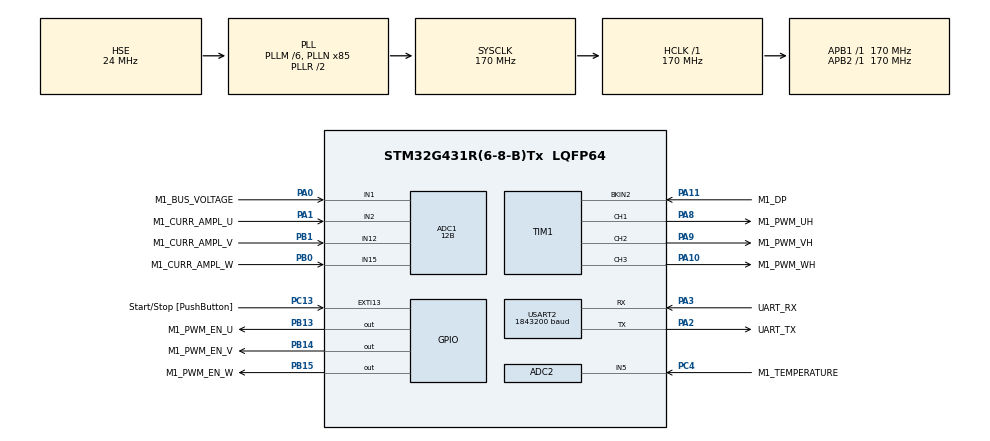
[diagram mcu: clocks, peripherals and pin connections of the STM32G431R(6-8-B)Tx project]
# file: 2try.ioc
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ADC1.Channel-1\#ChannelRegularConversion=ADC_CHANNEL_1
ADC1.ClockPrescaler=ADC_CLOCK_ASYNC_DIV1
ADC1.ContinuousConvMode=DISABLE
ADC1.DMAContinuousRequests=DISABLE
ADC1.DataAlign=ADC_DATAALIGN_LEFT
ADC1.DiscontinuousConvMode=DISABLE
ADC1.EOCSelection=ADC_EOC_SINGLE_CONV
ADC1.EnableAnalogWatchDog1=false
ADC1.EnableAnalogWatchDog2=false
ADC1.EnableAnalogWatchDog3=false
ADC1.EnableInjectedConversion=ENABLE
ADC1.EnableRegularConversion=ENABLE
ADC1.ExternalTrigConv=ADC_SOFTWARE_START
ADC1.ExternalTrigConvEdge=ADC_EXTERNALTRIGCONVEDGE_NONE
ADC1.ExternalTrigInjecConv=ADC_EXTERNALTRIGINJEC_T1_TRGO
ADC1.ExternalTrigInjecConvEdge=ADC_EXTERNALTRIGINJECCONV_EDGE_RISING
ADC1.InjNumberOfConversion=3
ADC1.InjectedChannel-1\#ChannelInjectedConversion=ADC_CHANNEL_2
ADC1.InjectedChannel-2\#ChannelInjectedConversion=ADC_CHANNEL_12
ADC1.InjectedChannel-3\#ChannelInjectedConversion=ADC_CHANNEL_15
ADC1.InjectedConvMode=None
ADC1.InjectedOffset-1\#ChannelInjectedConversion=0
ADC1.InjectedOffset-2\#ChannelInjectedConversion=0
ADC1.InjectedOffset-3\#ChannelInjectedConversion=0
ADC1.InjectedOffsetNumber-1\#ChannelInjectedConversion=ADC_OFFSET_NONE
ADC1.InjectedOffsetNumber-2\#ChannelInjectedConversion=ADC_OFFSET_NONE
ADC1.InjectedOffsetNumber-3\#ChannelInjectedConversion=ADC_OFFSET_NONE
ADC1.InjectedRank-1\#ChannelInjectedConversion=1
ADC1.InjectedRank-2\#ChannelInjectedConversion=2
ADC1.InjectedRank-3\#ChannelInjectedConversion=3
ADC1.InjectedSamplingTime-1\#ChannelInjectedConversion=ADC_SAMPLETIME_6CYCLES_5
ADC1.InjectedSamplingTime-2\#ChannelInjectedConversion=ADC_SAMPLETIME_6CYCLES_5
ADC1.InjectedSamplingTime-3\#ChannelInjectedConversion=ADC_SAMPLETIME_6CYCLES_5
ADC1.LowPowerAutoWait=DISABLE
ADC1.NbrOfConversion=1
ADC1.NbrOfConversionFlag=1
ADC1.Offset-1\#ChannelRegularConversion=0
ADC1.OffsetNumber-1\#ChannelRegularConversion=ADC_OFFSET_NONE
ADC1.Overrun=ADC_OVR_DATA_PRESERVED
ADC1.Rank-1\#ChannelRegularConversion=1
ADC1.Resolution=ADC_RESOLUTION_12B
ADC1.SamplingTime-1\#ChannelRegularConversion=ADC_SAMPLETIME_47CYCLES_5
ADC1.ScanConvMode=ADC_SCAN_ENABLE
ADC1.master=1
ADC2.Channel-1\#ChannelRegularConversion=ADC_CHANNEL_5
ADC2.ClockPrescaler=ADC_CLOCK_ASYNC_DIV1
ADC2.ContinuousConvMode=DISABLE
ADC2.DMAContinuousRequests=DISABLE
ADC2.DataAlign=ADC_DATAALIGN_LEFT
ADC2.DiscontinuousConvMode=DISABLE
ADC2.EOCSelection=ADC_EOC_SINGLE_CONV
ADC2.EnableAnalogWatchDog1=false
ADC2.EnableAnalogWatchDog2=false
ADC2.EnableAnalogWatchDog3=false
ADC2.EnableRegularConversion=ENABLE
ADC2.ExternalTrigConv=ADC_SOFTWARE_START
ADC2.ExternalTrigConvEdge=ADC_EXTERNALTRIGCONVEDGE_NONE
ADC2.LowPowerAutoWait=DISABLE
ADC2.NbrOfConversion=1
ADC2.NbrOfConversionFlag=1
ADC2.Offset-1\#ChannelRegularConversion=0
ADC2.OffsetNumber-1\#ChannelRegularConversion=ADC_OFFSET_NONE
ADC2.Overrun=ADC_OVR_DATA_PRESERVED
ADC2.Rank-1\#ChannelRegularConversion=1
ADC2.Resolution=ADC_RESOLUTION_12B
ADC2.SamplingTime-1\#ChannelRegularConversion=ADC_SAMPLETIME_47CYCLES_5
ADC2.ScanConvMode=ADC_SCAN_DISABLE
ADC2.master=1
Dma.Request0=USART2_RX
Dma.Request1=USART2_TX
Dma.USART2_RX.0.Direction=DMA_PERIPH_TO_MEMORY
Dma.USART2_RX.0.EventEnable=DISABLE
Dma.USART2_RX.0.Instance=DMA1_Channel1
Dma.USART2_RX.0.MemDataAlignment=DMA_MDATAALIGN_BYTE
Dma.USART2_RX.0.MemInc=DMA_MINC_ENABLE
Dma.USART2_RX.0.Mode=DMA_NORMAL
Dma.USART2_RX.0.PeriphDataAlignment=DMA_PDATAALIGN_BYTE
Dma.USART2_RX.0.PeriphInc=DMA_PINC_DISABLE
Dma.USART2_RX.0.Polarity=HAL_DMAMUX_REQ_GEN_RISING
Dma.USART2_RX.0.Priority=DMA_PRIORITY_LOW
Dma.USART2_RX.0.RequestNumber=1
Dma.USART2_RX.0.SignalID=NONE
Dma.USART2_RX.0.SyncEnable=DISABLE
Dma.USART2_RX.0.SyncPolarity=HAL_DMAMUX_SYNC_NO_EVENT
Dma.USART2_RX.0.SyncRequestNumber=1
Dma.USART2_RX.0.SyncSignalID=NONE
Dma.USART2_TX.1.Direction=DMA_MEMORY_TO_PERIPH
Dma.USART2_TX.1.EventEnable=DISABLE
Dma.USART2_TX.1.Instance=DMA1_Channel2
Dma.USART2_TX.1.MemDataAlignment=DMA_MDATAALIGN_BYTE
Dma.USART2_TX.1.MemInc=DMA_MINC_ENABLE
Dma.USART2_TX.1.Mode=DMA_NORMAL
Dma.USART2_TX.1.PeriphDataAlignment=DMA_PDATAALIGN_BYTE
Dma.USART2_TX.1.PeriphInc=DMA_PINC_DISABLE
Dma.USART2_TX.1.Polarity=HAL_DMAMUX_REQ_GEN_RISING
Dma.USART2_TX.1.Priority=DMA_PRIORITY_LOW
Dma.USART2_TX.1.RequestNumber=1
Dma.USART2_TX.1.SignalID=NONE
Dma.USART2_TX.1.SyncEnable=DISABLE
Dma.USART2_TX.1.SyncPolarity=HAL_DMAMUX_SYNC_NO_EVENT
Dma.USART2_TX.1.SyncRequestNumber=1
Dma.USART2_TX.1.SyncSignalID=NONE
ExtraMW=MotorControl
ExtraMW.MotorControl.Config=MotorControl
ExtraMW.MotorControl.Mode=MotorControl
ExtraMW.MotorControl.Root=MCSDK_v6.2.1-Full/MotorControl
ExtraMW.MotorControl.Template=templates
Mcu.Family=STM32G4
Mcu.Name=STM32G431R(6-8-B)Tx
Mcu.Package=LQFP64
MotorControl.ADC_AHBPERIPH=RCC_AHBPeriph_ADC1
MotorControl.ADC_CLOCK_WB_DIV=1
MotorControl.ADC_PERIPH=ADC1
MotorControl.ADC_REFERENCE_VOLTAGE=3.3
MotorControl.BOARD=NUCLEO-G431RB
MotorControl.BUS_VOLTAGE_READING=true
MotorControl.CCMRAM_ENABLED=false
MotorControl.CLOCK_FREQUENCY=CPU_CLK_170_MHZ
MotorControl.CLOCK_SOURCE=EXTERNAL
MotorControl.CPU_CLK_170_MHZ=true
MotorControl.CTLBOARD_NAME=NUCLEO-G431RB
MotorControl.CUBE_MX_VER=6.11.0
MotorControl.CURRENT_READING_TOPOLOGY=THREE_SHUNT
MotorControl.CURR_SAMPLING_TIME=6
MotorControl.DBG_MCU_LOAD_MEASURE=false
MotorControl.DEBUG_DAC_FUNCTIONALITY_EN=false
MotorControl.DP_EMERGENCY_STOP_GPIO_PIN=LL_GPIO_PIN_11
MotorControl.DP_EMERGENCY_STOP_GPIO_PORT=GPIOA
MotorControl.DRIVES_NUMBER_SELECTION=SINGLEDRIVE
MotorControl.DRIVE_NUMBER=1
MotorControl.DRIVE_TYPE=FOC
MotorControl.ENCODER_AVAILABLE=false
MotorControl.ENCODER_PPR=400
MotorControl.EXT_CLK_24_MHZ=true
MotorControl.EXT_CLOCK_FREQUENCY=EXT_CLK_24_MHZ
MotorControl.FEEDBACK_NET_FILTERING=false
MotorControl.HALL_SENSORS_AVAILABLE=false
MotorControl.HIGH_SIDE_IDLE_STATE=false
MotorControl.HWV_CS=ThreeShunt_AmplifiedCurrents
MotorControl.HWV_DP=SingleErrorTrigger_FixedReference
MotorControl.HWV_PWM=DrivingHighSidesAndThreeEnables
MotorControl.HW_COMPLEMENTED_LOW_SIDE=true
MotorControl.HW_DEAD_TIME_NS=550
MotorControl.IPs=CORDIC,SYS,NVIC,RCC,MotorControl,TIM1,ADC1,ADC2,USART2,DMA
MotorControl.LOW_MEMORY_FOOTPRINT_REG=false
MotorControl.LOW_SIDE_IDLE_STATE=false
MotorControl.LOW_SIDE_SIGNALS_ENABLING=ES_GPIO
MotorControl.M1_AMPLIFICATION_GAIN=1.53
MotorControl.M1_ANGC={0,0,0,0,0,0,0,0}
MotorControl.M1_AUXILIARY_SPEED_SENSOR=NONE
MotorControl.M1_BEMF_CONSISTENCY_GAIN=64
MotorControl.M1_BEMF_CONSISTENCY_TOL=64
MotorControl.M1_BOARD_MAX_CURRENT=2.12
MotorControl.M1_BUS_VOLTAGE_READING=true
MotorControl.M1_CONSTANT1_D=202576
MotorControl.M1_CONSTANT1_Q=202576
MotorControl.M1_CONSTANT2_QD=40424
MotorControl.M1_CS_ADC_NUM=1
MotorControl.M1_CS_ADC_PHASE_SHARED=NONE
MotorControl.M1_CS_ADC_U=ADC1
MotorControl.M1_CS_ADC_V=ADC1
MotorControl.M1_CS_ADC_W=ADC1
MotorControl.M1_CS_CHANNEL_U=2
MotorControl.M1_CS_CHANNEL_V=12
MotorControl.M1_CS_CHANNEL_W=15
MotorControl.M1_CURRENT_AMPLIFICATION_TOPO=EXTERNAL
MotorControl.M1_CURRENT_SENSING_TOPO=THREE_SHUNT
MotorControl.M1_CURR_SAMPLING_TIME=6
MotorControl.M1_DBG_OPEN_LOOP_ENABLE=false
MotorControl.M1_DC_CURRENT_RS_MEAS=2.12
MotorControl.M1_DEFAULT_CONTROL_MODE=STC_SPEED_MODE
MotorControl.M1_DEFAULT_FLUX_COMPONENT=0
MotorControl.M1_DEFAULT_TARGET_SPEED_RPM=524
MotorControl.M1_DEFAULT_TORQUE_COMPONENT=0
MotorControl.M1_DISCONTINUOUS_PWM=false
MotorControl.M1_DP_BKIN_FILTER=3
MotorControl.M1_DP_BKIN_MODE=EXT_MODE
MotorControl.M1_DP_BKIN_POLARITY=EMSTOP_ACTIVE_LOW
MotorControl.M1_DP_DESTINATION=TIM_BKIN2
MotorControl.M1_DP_TOPOLOGY=EXTERNAL
MotorControl.M1_DRIVE_TYPE=FOC
MotorControl.M1_ENABLE_SL_ALGO_FROM_PHASE=2
MotorControl.M1_ENCODER_PPR=400
MotorControl.M1_F1=16384
MotorControl.M1_F2=4096
MotorControl.M1_FEED_FORWARD_CURRENT_REG_ENABLING=false
MotorControl.M1_FLUX_WEAKENING_ENABLING=false
MotorControl.M1_FW_KIDIV=32768
MotorControl.M1_FW_KI_GAIN=5000
MotorControl.M1_FW_KPDIV=32768
MotorControl.M1_FW_KP_GAIN=3000
MotorControl.M1_FW_VOLTAGE_REF=985
MotorControl.M1_GAIN1=-22528
MotorControl.M1_GAIN2=31586
MotorControl.M1_HALL_PHASE_SHIFT=300
MotorControl.M1_HALL_SENSORS_PLACEMENT=DEGREES_120
MotorControl.M1_HIGH_SIDE_IDLE_STATE=false
MotorControl.M1_HW_DEAD_TIME_NS=550
MotorControl.M1_ICL_ENABLED=false
MotorControl.M1_ID_DEMAG=-2.12
MotorControl.M1_IQMAX=2.12
MotorControl.M1_LDLQ_RATIO=1.000
MotorControl.M1_LOW_SIDE_IDLE_STATE=false
MotorControl.M1_LOW_SIDE_SIGNALS_ENABLING=ES_GPIO
MotorControl.M1_LS=0.001058
MotorControl.M1_MAX_APPLICATION_SPEED=1572
MotorControl.M1_MAX_MODULATION_INDEX=100
MotorControl.M1_MIN_APPLICATION_SPEED=0
MotorControl.M1_MOTOR_MAX_SPEED_RPM=1572
MotorControl.M1_MOTOR_NAME=GimBal GBM2804H-100T
MotorControl.M1_MOTOR_RATED_FLUX=0.034739897
MotorControl.M1_MOTOR_VOLTAGE_CONSTANT=5.0
MotorControl.M1_MTPA_ENABLING=false
MotorControl.M1_NB_CONSECUTIVE_TESTS=2
MotorControl.M1_NOMINAL_BUS_VOLTAGE_V=15
MotorControl.M1_NOMINAL_CURRENT=2.12
MotorControl.M1_OBS_MINIMUM_SPEED_RPM=524
MotorControl.M1_OCP_TOPOLOGY=NONE
MotorControl.M1_OFST={0,0,0,0,0,0,0,0}
MotorControl.M1_ON_OVER_VOLTAGE=TURN_OFF_PWM
MotorControl.M1_OVERMODULATION=false
MotorControl.M1_OVP_THRESHOLD_HIGH=18
MotorControl.M1_OV_TEMPERATURE_HYSTERESIS_C=10
MotorControl.M1_OV_TEMPERATURE_PROT_ENABLING=true
MotorControl.M1_OV_TEMPERATURE_THRESHOLD_C=110
MotorControl.M1_OV_VOLTAGE_PROT_ENABLING=true
MotorControl.M1_OV_VOLTAGE_THRESHOLD_V=18
MotorControl.M1_PHASE1_DURATION=1000
MotorControl.M1_PHASE1_FINAL_CURRENT=2.12
MotorControl.M1_PHASE1_FINAL_SPEED_RPM=0
MotorControl.M1_PHASE2_DURATION=1164
MotorControl.M1_PHASE2_FINAL_CURRENT=2.12
MotorControl.M1_PHASE2_FINAL_SPEED_RPM=582
MotorControl.M1_PHASE3_DURATION=0
MotorControl.M1_PHASE3_FINAL_CURRENT=2.12
MotorControl.M1_PHASE3_FINAL_SPEED_RPM=582
MotorControl.M1_PHASE4_DURATION=0
MotorControl.M1_PHASE4_FINAL_CURRENT=2.12
MotorControl.M1_PHASE4_FINAL_SPEED_RPM=582
MotorControl.M1_PHASE5_DURATION=0
MotorControl.M1_PHASE5_FINAL_CURRENT=2.12
MotorControl.M1_PHASE5_FINAL_SPEED_RPM=582
MotorControl.M1_PID_FLUX_KD_DEFAULT=100
MotorControl.M1_PID_FLUX_KI_DEFAULT=3834
MotorControl.M1_PID_FLUX_KP_DEFAULT=2876
MotorControl.M1_PID_SPEED_KD_DEFAULT=0
MotorControl.M1_PID_SPEED_KI_DEFAULT=562
MotorControl.M1_PID_SPEED_KP_DEFAULT=2730
MotorControl.M1_PID_TORQUE_KD_DEFAULT=100
MotorControl.M1_PID_TORQUE_KI_DEFAULT=3834
MotorControl.M1_PID_TORQUE_KP_DEFAULT=2876
MotorControl.M1_PLL_KI_GAIN=5
MotorControl.M1_PLL_KP_GAIN=195
MotorControl.M1_POLE_PAIR_NUM=7
MotorControl.M1_POSITION_CTRL_ENABLING=false
MotorControl.M1_POTENTIOMETER_ENABLE=false
MotorControl.M1_POWERBOARD_NAME=X-NUCLEO-IHM16M1
MotorControl.M1_PWM_CHARGE_BOOT_CAP_DUTY_CYCLES=0.000
MotorControl.M1_PWM_CHARGE_BOOT_CAP_MS=10
MotorControl.M1_PWM_DRIVER_PN=Driver or IGBT or MOSFET Part Number
MotorControl.M1_PWM_FREQUENCY=30000
MotorControl.M1_PWM_TIMER_BRK_IRQ=TIM1_BRK_TIM15
MotorControl.M1_PWM_TIMER_SELECTION=PWM_TIM1
MotorControl.M1_PWM_TIMER_UP_IRQ=TIM1_UP_TIM16
MotorControl.M1_REGULATION_EXECUTION_RATE=1
MotorControl.M1_RS=5.29
MotorControl.M1_RSHUNT=0.33
MotorControl.M1_SEGDIV=0
MotorControl.M1_SHARED_SIGNAL_ENABLE=false
MotorControl.M1_SPD_DIFFERENTIAL_TERM_ENABLING=false
MotorControl.M1_SPEED_BAND_LOWER_LIMIT=15
MotorControl.M1_SPEED_BAND_UPPER_LIMIT=17
MotorControl.M1_SPEED_FEEDBACK_CHECK=true
MotorControl.M1_SPEED_LOOP_FREQUENCY_HZ=1000
MotorControl.M1_SPEED_SENSOR=STO_PLL
MotorControl.M1_SP_KDDIV=16
MotorControl.M1_SP_KIDIV=16384
MotorControl.M1_SP_KPDIV=256
MotorControl.M1_SS_MEAS_ERRORS_BEFORE_FAULTS=3
MotorControl.M1_STARTING_ANGLE_DEG=0
MotorControl.M1_STO_FIFO_DEPTH_01HZ=64
MotorControl.M1_STO_FIFO_DEPTH_DPP=64
MotorControl.M1_SW_DEADTIME_NS=525
MotorControl.M1_T0_C=25
MotorControl.M1_TEMPERATURE_READING=true
MotorControl.M1_TEMP_ADC_SAMPLING_TIME=47
MotorControl.M1_TEMP_FDBK_ADC=ADC2
MotorControl.M1_TEMP_FDBK_CHANNEL=ADC_CHANNEL_5
MotorControl.M1_TF_KDDIV=8192
MotorControl.M1_TF_KIDIV=8192
MotorControl.M1_TF_KPDIV=1024
MotorControl.M1_TNOISE_NS=500
MotorControl.M1_TRANSITION_DURATION=25
MotorControl.M1_TRISE_NS=500
MotorControl.M1_T_MAX=110
MotorControl.M1_UD_VOLTAGE_THRESHOLD_V=7
MotorControl.M1_USE_INTERNAL_OPAMP=false
MotorControl.M1_UV_VOLTAGE_PROT_ENABLING=true
MotorControl.M1_V0_V=0.579
MotorControl.M1_VARIANCE_THRESHOLD=0.25
MotorControl.M1_VBUS_ADC=ADC1
MotorControl.M1_VBUS_ADC_SAMPLING_TIME=47
MotorControl.M1_VBUS_CHANNEL=ADC_CHANNEL_1
MotorControl.M1_VBUS_PARTITIONING_FACTOR=0.0625
MotorControl.M1_dV_dT=0.027
MotorControl.MAX_READABLE_CURRENT=3.272
MotorControl.MCPA_OVER_UART_A_STREAM=10
MotorControl.MCP_ASPEP_OVER_UART=true
MotorControl.MCP_ASYNC_EN=true
MotorControl.MCP_ASYNC_OVER_ASPEP_EN=true
MotorControl.MCP_ASYNC_OVER_UART_A_EN=true
MotorControl.MCP_DMACH_RX_UART_A=1
MotorControl.MCP_DMACH_TX_UART_A=2
MotorControl.MCP_DMA_RX_UART_A=DMA1
MotorControl.MCP_DMA_TX_UART_A=DMA1
MotorControl.MCP_EN=true
MotorControl.MCP_IRQ_HANDLER_DMA_RX_UART_A=DMA1_Channel1_IRQHandler
MotorControl.MCP_IRQ_HANDLER_UART_A=USART2_IRQHandler
MotorControl.MCP_OVER_ASPEP_EN=true
MotorControl.MCP_OVER_STLNK_EN=false
MotorControl.MCP_OVER_UART_A_EN=true
MotorControl.MCP_OVER_UART_B_EN=false
MotorControl.MCP_RX_SYNC_PAYLOAD_MAX=128
MotorControl.MCP_TX_ASYNC_PAYLOAD_MAX_UART_A=2048
MotorControl.MCP_TX_SYNC_PAYLOAD_MAX=128
MotorControl.MCU=STM32G431RB
MotorControl.MCU_FAMILY=STM32G4
MotorControl.MCU_LINE=STM32G4x1
MotorControl.MCU_NAME=STM32G431R(6-8-B)Tx
MotorControl.MCU_PACKAGE=LQFP64
MotorControl.MCU_TYPE=STM32G431RB
MotorControl.MCU_USERNAME=STM32G431RBTx
MotorControl.MC_WORKBENCH_VERSION=6.2.1
MotorControl.MOTOR_PROFILER=false
MotorControl.MOTOR_TYPE=PMSM
MotorControl.ON_OVER_VOLTAGE=TURN_OFF_PWM
MotorControl.OV_TEMPERATURE_PROT_ENABLING=true
MotorControl.OV_VOLTAGE_PROT_ENABLING=true
MotorControl.PHASE_UH_GPIO_PIN=LL_GPIO_PIN_8
MotorControl.PHASE_UH_GPIO_PORT=GPIOA
MotorControl.PHASE_UH_POLARITY=H_ACTIVE_HIGH
MotorControl.PHASE_UL_GPIO_PIN=LL_GPIO_PIN_13
MotorControl.PHASE_UL_GPIO_PORT=GPIOB
MotorControl.PHASE_UL_POLARITY=L_ACTIVE_HIGH
MotorControl.PHASE_U_CURR_ADC=ADC1
MotorControl.PHASE_U_CURR_CHANNEL=ADC_CHANNEL_2
MotorControl.PHASE_U_GPIO_PIN=LL_GPIO_PIN_1
MotorControl.PHASE_U_GPIO_PORT=GPIOA
MotorControl.PHASE_VH_GPIO_PIN=LL_GPIO_PIN_9
MotorControl.PHASE_VH_GPIO_PORT=GPIOA
MotorControl.PHASE_VH_POLARITY=H_ACTIVE_HIGH
MotorControl.PHASE_VL_GPIO_PIN=LL_GPIO_PIN_14
MotorControl.PHASE_VL_GPIO_PORT=GPIOB
MotorControl.PHASE_VL_POLARITY=L_ACTIVE_HIGH
MotorControl.PHASE_V_CURR_ADC=ADC1
MotorControl.PHASE_V_CURR_CHANNEL=ADC_CHANNEL_12
MotorControl.PHASE_V_GPIO_PIN=LL_GPIO_PIN_1
MotorControl.PHASE_V_GPIO_PORT=GPIOB
MotorControl.PHASE_WH_GPIO_PIN=LL_GPIO_PIN_10
MotorControl.PHASE_WH_GPIO_PORT=GPIOA
MotorControl.PHASE_WH_POLARITY=H_ACTIVE_HIGH
MotorControl.PHASE_WL_GPIO_PIN=LL_GPIO_PIN_15
MotorControl.PHASE_WL_GPIO_PORT=GPIOB
MotorControl.PHASE_WL_POLARITY=L_ACTIVE_HIGH
MotorControl.PHASE_W_CURR_ADC=ADC1
MotorControl.PHASE_W_CURR_CHANNEL=ADC_CHANNEL_15
MotorControl.PHASE_W_GPIO_PIN=LL_GPIO_PIN_0
MotorControl.PHASE_W_GPIO_PORT=GPIOB
MotorControl.POTENTIOMETER_READING=false
MotorControl.PWM_FREQUENCY=30000
MotorControl.PWM_TIMER_SELECTION=PWM_TIM1
MotorControl.REGULATION_EXECUTION_RATE=1
MotorControl.RTOS=NONE
MotorControl.R_BRAKE_SWITCH_OFF_THRES_V=14
MotorControl.SINGLEDRIVE=true
MotorControl.SPD_DIFFERENTIAL_TERM_ENABLING=false
MotorControl.SPEED_SENSOR_SELECTION=STATE_OBSERVER_PLL
MotorControl.START_STOP_BTN=true
MotorControl.START_STOP_GPIO_PIN=LL_GPIO_PIN_13
MotorControl.START_STOP_GPIO_PORT=GPIOC
MotorControl.START_STOP_POLARITY=DIN_ACTIVE_LOW
MotorControl.START_STOP_POLARITY_EDGE=GPIO_NOPULL
MotorControl.STATE_OBSERVER_PLL=true
MotorControl.STM32G431RB=true
MotorControl.SW_DEADTIME_NS=525
MotorControl.TEMPERATURE_READING=true
MotorControl.TEMP_ADC_SAMPLING_TIME=47
MotorControl.TEMP_FDBK_ADC=ADC2
MotorControl.TEMP_FDBK_CHANNEL=ADC_CHANNEL_5
MotorControl.TEMP_FDBK_GPIO_PIN=LL_GPIO_PIN_4
MotorControl.TEMP_FDBK_GPIO_PORT=GPIOC
MotorControl.TFDIFFERENTIAL_TERM_ENABLING=false
MotorControl.THREE_SHUNT=true
MotorControl.TRISE_NS=500
MotorControl.USART_RX_GPIO_PIN=LL_GPIO_PIN_3
MotorControl.USART_RX_GPIO_PORT=GPIOA
MotorControl.USART_SELECTION=USE_USART2
MotorControl.USART_SELECTION_A=USART2
MotorControl.USART_SPEED=1843200
MotorControl.USART_TX_GPIO_PIN=LL_GPIO_PIN_2
MotorControl.USART_TX_GPIO_PORT=GPIOA
MotorControl.USE_3OPAMPS=false
MotorControl.USE_INTERNAL_OPAMP=false
MotorControl.UV_VOLTAGE_PROT_ENABLING=true
MotorControl.VBUS_ADC=ADC1
MotorControl.VBUS_ADC_SAMPLING_TIME=47
MotorControl.VBUS_CHANNEL=ADC_CHANNEL_1
MotorControl.VBUS_GPIO_PIN=LL_GPIO_PIN_0
MotorControl.VBUS_GPIO_PORT=GPIOA
MotorControl.WB_UI_CUTOFF_FREQUENCY=6000
MotorControl.WB_UI_DP_DISABLING_ENABLE=false
MotorControl.WB_UI_ENCODER_HAS_INDEX_PIN=false
MotorControl.WB_UI_FLUX_TARGET=0
MotorControl.WB_UI_FRICTION=0.937
MotorControl.WB_UI_INERTIA=0.291
MotorControl.WB_UI_MAGNETIC_STRUCTURE=SM-PMSM
MotorControl.WB_UI_MAX_CURRENT=5
MotorControl.WB_UI_MAX_NOMINAL_DC_VOLTAGE=15
MotorControl.WB_UI_MAX_PWMFREQUENCY=100000
MotorControl.WB_UI_MOTOR_DESCRIPTION=iPower GBM2804H-100T Brushless Gimbal Motor
MotorControl.WB_UI_PW_BOARD_MAX_RATED_CURRENT=2.12
MotorControl.WB_UI_PW_BOARD_MAX_VOLTAGE=45
MotorControl.WB_UI_PW_BOARD_MIN_VOLTAGE=7
MotorControl.WB_UI_VPOL=1.559
MotorControl.WB_to_Mx_template_version=23-11-20
MotorControl.WB_to_Mx_version=6.2.0
NVIC.ADC1_2_IRQn=true\:2\:0\:true\:true\:false\:5\:true\:true\:true
NVIC.DMA1_Channel1_IRQn=true\:3\:0\:true\:true\:false\:2\:true\:true\:true
NVIC.EXTI15_10_IRQn=true\:3\:0\:false\:true\:false\:6\:true\:true\:true
NVIC.PriorityGroup=NVIC_PRIORITYGROUP_3
NVIC.TIM1_BRK_TIM15_IRQn=true\:4\:1\:true\:true\:false\:3\:true\:true\:true
NVIC.TIM1_UP_TIM16_IRQn=true\:0\:0\:false\:true\:false\:4\:true\:true\:true
NVIC.USART2_IRQn=true\:3\:1\:true\:true\:false\:1\:true\:true\:true
PA0.GPIO_Label=M1_BUS_VOLTAGE
PA0.Mode=IN1-Single-Ended
PA0.Signal=ADC1_IN1
PA1.GPIO_Label=M1_CURR_AMPL_U
PA1.Mode=IN2-Single-Ended
PA1.Signal=ADC1_IN2
PA10.GPIO_Label=M1_PWM_WH
PA10.GPIO_PuPd=GPIO_PULLDOWN
PA10.GPIO_Speed=GPIO_SPEED_FREQ_HIGH
PA10.Signal=S_TIM1_CH3
PA11.GPIO_Label=M1_DP
PA11.GPIO_PuPd=GPIO_PULLUP
PA11.Mode=Activate-Break-Input-2
PA11.Signal=TIM1_BKIN2
PA13.GPIO_Label=TMS
PA13.Mode=Serial_Wire
PA13.Signal=SYS_JTMS-SWDIO
PA14.GPIO_Label=TCK
PA14.Mode=Serial_Wire
PA14.Signal=SYS_JTCK-SWCLK
PA2.GPIO_Label=UART_TX
PA2.GPIO_Mode=GPIO_MODE_AF_PP
PA2.GPIO_PuPd=GPIO_NOPULL
PA2.GPIO_Speed=GPIO_SPEED_FREQ_LOW
PA2.Mode=Asynchronous
PA2.Signal=USART2_TX
PA3.GPIO_Label=UART_RX
PA3.GPIO_Mode=GPIO_MODE_AF_PP
PA3.GPIO_PuPd=GPIO_NOPULL
PA3.GPIO_Speed=GPIO_SPEED_FREQ_LOW
PA3.Mode=Asynchronous
PA3.Signal=USART2_RX
PA8.GPIO_Label=M1_PWM_UH
PA8.GPIO_PuPd=GPIO_PULLDOWN
PA8.GPIO_Speed=GPIO_SPEED_FREQ_HIGH
PA8.Signal=S_TIM1_CH1
PA9.GPIO_Label=M1_PWM_VH
PA9.GPIO_PuPd=GPIO_PULLDOWN
PA9.GPIO_Speed=GPIO_SPEED_FREQ_HIGH
PA9.Signal=S_TIM1_CH2
PB0.GPIO_Label=M1_CURR_AMPL_W
PB0.Mode=IN15-Single-Ended
PB0.Signal=ADC1_IN15
PB1.GPIO_Label=M1_CURR_AMPL_V
PB1.Mode=IN12-Single-Ended
PB1.Signal=ADC1_IN12
PB13.GPIO_Label=M1_PWM_EN_U
PB13.GPIO_PuPd=GPIO_PULLDOWN
PB13.GPIO_Speed=GPIO_SPEED_FREQ_HIGH
PB13.Signal=GPIO_Output
PB14.GPIO_Label=M1_PWM_EN_V
PB14.GPIO_PuPd=GPIO_PULLDOWN
PB14.GPIO_Speed=GPIO_SPEED_FREQ_HIGH
PB14.Signal=GPIO_Output
PB15.GPIO_Label=M1_PWM_EN_W
PB15.GPIO_PuPd=GPIO_PULLDOWN
PB15.GPIO_Speed=GPIO_SPEED_FREQ_HIGH
PB15.Signal=GPIO_Output
PC13.GPIO_Label=Start/Stop [PushButton]
PC13.GPIO_ModeDefaultEXTI=GPIO_MODE_IT_FALLING
PC13.GPIO_PuPd=GPIO_NOPULL
PC13.Signal=GPXTI13
PC4.GPIO_Label=M1_TEMPERATURE
PC4.Mode=IN5-Single-Ended
PC4.Signal=ADC2_IN5
PF0-OSC_IN.Mode=HSE-External-Oscillator
PF0-OSC_IN.Signal=RCC_OSC_IN
PF1-OSC_OUT.Mode=HSE-External-Oscillator
PF1-OSC_OUT.Signal=RCC_OSC_OUT
ProjectManager.HeapSize=0x200
ProjectManager.StackSize=0x400
ProjectManager.TargetToolchain=STM32CubeIDE
RCC.ADC12CLockSelection=RCC_ADC12CLKSOURCE_PLL
RCC.ADC12Freq_Value=42500000
RCC.AHBFreq_Value=170000000
RCC.APB1Freq_Value=170000000
RCC.APB1TimFreq_Value=170000000
RCC.APB2Freq_Value=170000000
RCC.APB2TimFreq_Value=170000000
RCC.CK48CLockSelection=RCC_USBCLKSOURCE_PLL
RCC.CortexFreq_Value=170000000
RCC.EXTERNAL_CLOCK_VALUE=12288000
RCC.EnbaleCSS=true
RCC.HCLKFreq_Value=170000000
RCC.HSE_VALUE=24000000
RCC.HSI48_VALUE=48000000
RCC.HSI_VALUE=16000000
RCC.LSE_VALUE=32768
RCC.PLLM=RCC_PLLM_DIV6
RCC.PLLN=85
RCC.PLLP=RCC_PLLP_DIV8
RCC.PLLSourceVirtual=RCC_PLLSOURCE_HSE
RCC.PREFETCH_ENABLE=1
RCC.SYSCLKFreq_VALUE=170000000
RCC.SYSCLKSource=RCC_SYSCLKSOURCE_PLLCLK
RCC.USBFreq_Value=170000000
RCC.VCOOutputFreq_Value=340000000
SH.S_TIM1_CH1.0=TIM1_CH1,PWM Generation1 CH1
SH.S_TIM1_CH2.0=TIM1_CH2,PWM Generation2 CH2
SH.S_TIM1_CH3.0=TIM1_CH3,PWM Generation3 CH3
STMicroelectronics.X-CUBE-ALGOBUILD.1.4.0.LibraryCcDSPOoLibraryJjDSPOoLibrary=true
TIM1.AutoReloadPreload=TIM_AUTORELOAD_PRELOAD_DISABLE
TIM1.AutomaticOutput=TIM_AUTOMATICOUTPUT_DISABLE
TIM1.Break2Filter=3
TIM1.Break2Polarity=TIM_BREAK2POLARITY_HIGH
TIM1.Break2State=TIM_BREAK2_ENABLE
TIM1.BreakFilter=0
TIM1.BreakPolarity=TIM_BREAKPOLARITY_HIGH
TIM1.BreakState=TIM_BREAK_DISABLE
TIM1.Channel=TIM_CHANNEL_4
TIM1.Channel-PWM\ Generation1\ CH1=TIM_CHANNEL_1
TIM1.Channel-PWM\ Generation2\ CH2=TIM_CHANNEL_2
TIM1.Channel-PWM\ Generation3\ CH3=TIM_CHANNEL_3
TIM1.Channel-PWM\ Generation4\ No\ Output=TIM_CHANNEL_4
TIM1.ClearInputSource=TIM_CLEARINPUTSOURCE_NONE
TIM1.ClockDivision=TIM_CLOCKDIVISION_DIV2
TIM1.CounterMode=TIM_COUNTERMODE_CENTERALIGNED1
TIM1.LockLevel=TIM_LOCKLEVEL_OFF
TIM1.OC1Preload_PWM=ENABLE
TIM1.OC2Preload_PWM=ENABLE
TIM1.OC3Preload_PWM=ENABLE
TIM1.OC4Preload_PWM=ENABLE
TIM1.OCFastMode_PWM=TIM_OCFAST_DISABLE
TIM1.OCIdleState_1=TIM_OCIDLESTATE_RESET
TIM1.OCIdleState_2=TIM_OCIDLESTATE_RESET
TIM1.OCIdleState_3=TIM_OCIDLESTATE_RESET
TIM1.OCIdleState_4=TIM_OCIDLESTATE_RESET
TIM1.OCMode_PWM-PWM\ Generation1\ CH1=TIM_OCMODE_PWM1
TIM1.OCMode_PWM-PWM\ Generation2\ CH2=TIM_OCMODE_PWM1
TIM1.OCMode_PWM-PWM\ Generation3\ CH3=TIM_OCMODE_PWM1
TIM1.OCMode_PWM-PWM\ Generation4\ No\ Output=TIM_OCMODE_PWM2
TIM1.OCPolarity_1=TIM_OCPOLARITY_HIGH
TIM1.OCPolarity_2=TIM_OCPOLARITY_HIGH
TIM1.OCPolarity_3=TIM_OCPOLARITY_HIGH
TIM1.OCPolarity_4=TIM_OCPOLARITY_HIGH
TIM1.OffStateIDLEMode=TIM_OSSI_ENABLE
TIM1.OffStateRunMode=TIM_OSSR_ENABLE
TIM1.PeriodNoDither=((PWM_PERIOD_CYCLES) / 2)
TIM1.Prescaler=((TIM_CLOCK_DIVIDER) - 1)
TIM1.PulseNoDither_1=((PWM_PERIOD_CYCLES) / 4)
TIM1.PulseNoDither_2=((PWM_PERIOD_CYCLES) / 4)
TIM1.PulseNoDither_3=((PWM_PERIOD_CYCLES) / 4)
TIM1.PulseNoDither_4=(((PWM_PERIOD_CYCLES) / 2) - (HTMIN))
TIM1.RepetitionCounter=(REP_COUNTER)
TIM1.SourceBRK2DigInput=TIM_BREAKINPUTSOURCE_ENABLE
TIM1.SourceBRK2DigInputPolarity=TIM_BREAKINPUTSOURCE_POLARITY_LOW
TIM1.SourceBRKDigInput=TIM_BREAKINPUTSOURCE_DISABLE
TIM1.TIM_MasterOutputTrigger=TIM_TRGO_OC4REF
TIM1.TIM_MasterOutputTrigger2=TIM_TRGO2_RESET
TIM1.TIM_MasterSlaveMode=TIM_MASTERSLAVEMODE_DISABLE
TIM1.TIM_SlaveMode=TIM_SLAVEMODE_TRIGGER
USART2.BaudRate=1843200
USART2.VirtualMode-Asynchronous=VM_ASYNC
USART2.WordLength=WORDLENGTH_8B
VP_CORDIC_VS_CORDIC.Mode=CORDIC_Activate
VP_MotorControl_MC_ENABLED.Mode=Enabled
VP_STMicroelectronics.X-CUBE-ALGOBUILD_VS_DSPOoLibraryJjLibrary_1.4.0_1.4.0.Mode=DSPOoLibraryJjLibrary
VP_SYS_VS_DBSignals.Mode=DisableDeadBatterySignals
VP_TIM1_VS_ClockSourceITR.Mode=TriggerSource_ITR1
VP_TIM1_VS_ControllerModeTrigger.Mode=Trigger Mode
VP_TIM1_VS_no_output4.Mode=PWM Generation4 No Output
board=custom

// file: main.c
/* USER CODE BEGIN Header */
/**
  ******************************************************************************
  * @file           : main.c
  * @brief          : Main program body
  ******************************************************************************
  * @attention
  *
  * Copyright (c) 2024 STMicroelectronics.
  * All rights reserved.
  *
  * This software is licensed under terms that can be found in the LICENSE file
  * in the root directory of this software component.
  * If no LICENSE file comes with this software, it is provided AS-IS.
  *
  ******************************************************************************
  */
/* USER CODE END Header */
#include "main.h"
#include "arm_math.h"
#include "time.h"
#include "stdio.h"

ADC_HandleTypeDef hadc1;
ADC_HandleTypeDef hadc2;

CORDIC_HandleTypeDef hcordic;

TIM_HandleTypeDef htim1;

UART_HandleTypeDef huart2;
DMA_HandleTypeDef hdma_usart2_rx;
DMA_HandleTypeDef hdma_usart2_tx;

void SystemClock_Config(void);
static void MX_GPIO_Init(void);
static void MX_DMA_Init(void);
static void MX_ADC1_Init(void);
static void MX_ADC2_Init(void);
static void MX_CORDIC_Init(void);
static void MX_TIM1_Init(void);
static void MX_USART2_UART_Init(void);
static void MX_NVIC_Init(void);

/* USER CODE BEGIN 0 */
int16_t SpeedSet = 100;
int16_t TimeSet = 10000;
int16_t n = 0;

float SPEED, speed, P, I, SPEED_expected;
qd_t a;
float cof=0.3;
float B_IIR[3]={1,2,1}; //分子
float A_IIR[3]={1, 1.14298050254, 0.4128015980962}; //分母

int history_speed_IIR_origin[2]={0,0};
int history_speed_IIR_filterd[2]={0,0};
float tmp1;
float const_1=1.0;
float sum=0;
float FIR_cof[6]={0.01861755945526,  -0.1146286727783,    0.596290909881,    0.596290909881, -0.1146286727783,  0.01861755945526};
float tmp2;
float da_e;

/* USER CODE END 0 */

struct angle_thing {
    int16_t angle_en, angle_el;
} Angle;

float Get_Speed() {

    Angle.angle_en = MC_GetElAngledppMotor1();
    if (Angle.angle_en < Angle.angle_el) {
        da_e = (float) (65535 - Angle.angle_el + Angle.angle_en);
    } else {
        da_e = (float) (Angle.angle_en - Angle.angle_el);
    }
    Angle.angle_el = Angle.angle_en;

    return da_e * 0.026157;
}

int filter_FIR5(int current_speed,int *history_speed){
	int i=0;
	for(i=0;i<5;i++){
		if (history_speed[i]==0){
			history_speed[i]=current_speed;
			return current_speed;
		}
	}
	current_speed=current_speed*FIR_cof[0]+history_speed[0]*FIR_cof[1]+history_speed[1]*FIR_cof[2]+history_speed[2]*FIR_cof[3]+history_speed[3]*FIR_cof[4]+history_speed[4]*FIR_cof[5]+history_speed[5]*FIR_cof[6];
	for(i=0;i<4;i++){
		history_speed[i]=history_speed[i+1];
	}
	history_speed[i]=current_speed;
	return current_speed;
}

int filter_IIR2(int current_speed){
	if (history_speed_IIR_origin[1]==0){
		history_speed_IIR_origin[1]=current_speed;
		history_speed_IIR_filterd[1]=current_speed;
		return current_speed;
	}else if(history_speed_IIR_origin[0]==0){
		history_speed_IIR_origin[0]=current_speed;
		history_speed_IIR_filterd[0]=current_speed;
		return current_speed;
	}
	int filtered_speed=(int)(B_IIR[0]*current_speed+B_IIR[1]*history_speed_IIR_origin[0]+B_IIR[2]*history_speed_IIR_origin[1]-A_IIR[1]*history_speed_IIR_filterd[0]+A_IIR[2]*history_speed_IIR_filterd[1]);
	history_speed_IIR_origin[1]=history_speed_IIR_origin[0];
	history_speed_IIR_filterd[1]=history_speed_IIR_filterd[0];
	history_speed_IIR_origin[0]=current_speed;
	history_speed_IIR_filterd[0]=filtered_speed;
	return filtered_speed;
}

float filter_average(float current_speed,float *history_speed,int size){
//	int sum=0;
	sum=0;
	int i=0;
	for(i=0;i<size;i++){
		if (history_speed[i]==0){
			break;
		}else{
			sum+=history_speed[i];
		}
	}
	current_speed=(sum+current_speed)/(i+1);
//	放入current_speed
	if (i==size){
		for(i=0;i<size-1;i++){
			history_speed[i]=history_speed[i+1];
		}
		history_speed[size-1]=current_speed;
	}else{
		history_speed[i]=current_speed;
	}
	return current_speed;
}

float filter_average_dsp(float current_speed,float *history_speed,int size){
	sum=0;
	int i=0;
	for(i=0;i<size;i++){
		if (history_speed[i]==0){
			break;
		}else{
			arm_add_f32(&sum,&(history_speed[i]),&sum,1);
//			sum+=history_speed[i];
		}
	}
	arm_add_f32(&sum,&current_speed,&tmp1,1);
	current_speed=tmp1/(i+1);
//	放入current_speed
	if (i==size){
		for(i=0;i<size-1;i++){
			history_speed[i]=history_speed[i+1];
		}
		history_speed[size-1]=current_speed;
	}else{
		history_speed[i]=current_speed;
	}
	return current_speed;
}

float filter_RC(float current_speed,float last_speed){
	if (last_speed!=0)
		current_speed = cof * (float)current_speed + (1.000f - cof) * last_speed;
	return current_speed;
}

float filter_RC_dsp(float current_speed,float last_speed){
	if (last_speed!=0){
		arm_mult_f32(&current_speed,&cof,&current_speed,1);
		arm_sub_f32(&const_1,&cof,&tmp1,1);
		arm_mult_f32(&last_speed,&tmp1,&tmp1,1);
		arm_add_f32(&tmp1,&current_speed,&current_speed,1);
//		current_speed = current_speed + (1.000f - cof) * last_speed;
	}
	return current_speed;
}

float filter_realtime(int filter_mode, float current_speed, float *history_speed, int size, float last_speed){
	if (filter_mode==1){
		return filter_average(current_speed, history_speed, size);
	}else if(filter_mode==2){
		return filter_RC(current_speed, last_speed);
	}else if(filter_mode==3){
		return filter_IIR2(current_speed);
	}else if(filter_mode==4){
		return filter_FIR5(current_speed,history_speed);
	}
}

float filter_realtime_dsp(int filter_mode, float current_speed, float *history_speed, int size, float last_speed){
	if (filter_mode==1){
		return filter_average(current_speed, history_speed, size);
	}else if(filter_mode==2){
		return filter_RC_dsp(current_speed, last_speed);
	}else if(filter_mode==3){
		return filter_IIR2(current_speed);
	}else if(filter_mode==4){
		return filter_FIR5(current_speed,history_speed);
	}
}

int UI_HandleStartStopButton_cb (int flag)
{
/* USER CODE BEGIN START_STOP_BTN */
//  if ((IDLE == MC_GetSTMStateMotor1())&&(HAL_GPIO_ReadPin(Start_Stop_GPIO_Port,Start_Stop_Pin) == GPIO_PIN_SET))
	if(HAL_GPIO_ReadPin(Start_Stop_GPIO_Port,Start_Stop_Pin) == GPIO_PIN_SET)
	{
		if(flag==0)
		{
//			HAL_Delay(20);
			MC_ProgramSpeedRampMotor1(300/6,10);
			MC_StartMotor1();
			while(HAL_GPIO_ReadPin(Start_Stop_GPIO_Port,Start_Stop_Pin) == GPIO_PIN_SET);

		    return 1;
		}

		else if(flag==1)
		{
//			HAL_Delay(20);
//			MC_ProgramSpeedRampMotor1(600/6,0);

			while(HAL_GPIO_ReadPin(Start_Stop_GPIO_Port,Start_Stop_Pin) == GPIO_PIN_SET);
			return 2;
		}

		else if(flag==2)
		{
//			HAL_Delay(20);
//			MC_ProgramSpeedRampMotor1(900/6,10);
			SPEED=300/6;
			while(HAL_GPIO_ReadPin(Start_Stop_GPIO_Port,Start_Stop_Pin) == GPIO_PIN_SET);
			return 3;
		}
		else if(flag==3)

		{
//			HAL_Delay(20);
//			MC_StopMotor1();
			while(HAL_GPIO_ReadPin(Start_Stop_GPIO_Port,Start_Stop_Pin) == GPIO_PIN_SET);
	        return 2;
		}

//		else if(flag==3)
//		{
//			MC_ProgramSpeedRampMotor1(700/6,10);
//			(void)MC_StartMotor1();
//			return 0;
//		}
	}
	return flag;

/* USER CODE END START_STOP_BTN */
}

int flag = 0;
int mode=0;
int filter_mode=4;
float kp=15;
float ki=0.2;
float current_speed=0;
float dI;

int main(void)
{

  /* USER CODE BEGIN 1 */
	short speed_trans[2]={0};
	int size=10;
	float history_speed[10]={0};
  /* USER CODE END 1 */
  /* MCU Configuration--------------------------------------------------------*/
  /* Reset of all peripherals, Initializes the Flash interface and the Systick. */
  HAL_Init();

  /* Configure the system clock */
  SystemClock_Config();

  /* Initialize all configured peripherals */
  MX_GPIO_Init();
  MX_DMA_Init();
  MX_ADC1_Init();
  MX_ADC2_Init();
  MX_CORDIC_Init();
  MX_TIM1_Init();
  MX_USART2_UART_Init();
  MX_MotorControl_Init();

  /* Initialize interrupts */
  MX_NVIC_Init();
  /* USER CODE BEGIN 2 */
//  MC_ProgramSpeedRampMotor1(600/6,10);
  a.q = 0;
  a.d = 0;
  I = 0;
//  SPEED=600/6;
  SPEED_expected=700/6;
  /* USER CODE END 2 */
 // MC_ProgramSpeedRampMotor1(700/6,10);
   // MC_StartMotor1();
  /* Infinite loop */
  /* USER CODE BEGIN WHILE */

  while (1)
  {
	  int flagb;

	  	flagb = UI_HandleStartStopButton_cb(flag);
	  	flag = flagb;																																																																																																																																																																																																									if(0){
		current_speed = Get_Speed();																																																																																																																																																																																																					}current_speed = MC_GetMecSpeedAverageMotor1();

		//		current_speed = MC_GetMecSpeedAverageMotor1();
		if(current_speed==0){
			current_speed=speed;
		}
		if(flag!=0&&flag!=1){
//			start=clock();
			if(flag==2){
				SPEED=SPEED_expected;
			}
	  		speed=filter_realtime_dsp(filter_mode, current_speed, history_speed, size, speed);
			speed=current_speed;

	  		P = kp*(SPEED - speed);
//	  		if (speed<30){
	  		if (0) {
	  			dI=0;
	  		}else{
	  			arm_sub_f32(&SPEED,&speed,&tmp1,1);
	  			arm_mult_f32(&ki,&tmp1,&dI,1);
//	  			dI=ki*(SPEED - speed);
	  		}
			  I = I + dI;
//			  if(I>20000){
//				  I=20000;
//			  }
			  arm_add_f32(&P,&I,&tmp1,1);
			  a.q = (int)tmp1;
//			  a.q = (int)(P + I);
//			  if(a.q<-10000){
//				  a.q=-10000;
//			  }
			  if(a.q>250){
				  a.q=250;
			  }
//			  if(a.q<-250){
//				  a.q=-250;
//			  }
//			  if(a.q<50){
//				  a.q=50;
//			  }
			  MC_SetCurrentReferenceMotor1(a);
			  MC_StartMotor1();

//			  speed_trans[1]=speed/2;
//			  speed_trans[1]=a.q;
//			  HAL_UART_Transmit(&huart2,(uint8_t*)speed_trans,sizeof(speed_trans),10);
			  HAL_Delay(1);
//			  cnt+=1;
//			  if (cnt==10000){
//				  end=clock();
//				  cof=((float)(end-start))/CLK_TCK;
//			  }

	  	}

//	  SPEED=150;
//	  speed = MC_GetMecSpeedAverageMotor1();
//	  P = 5*(SPEED - speed);
//	  I = I + 0.03*(SPEED - speed);
//	  if(I>2000){
//		  I=2000;
//	  }
//	  a.q = P + I;
//	  MC_SetCurrentReferenceMotor1(a);
////	  MC_StartMotor1();
//	  speed_trans[1]=speed;
//	  HAL_UART_Transmit(&huart2,(uint8_t*)speed_trans,sizeof(speed_trans),10);

//	  	  MC_SetCurrentReferenceMotor1(a);
//	  	  speed[1] = MC_GetMecSpeedAverageMotor1();
//	  	  HAL_UART_Transmit(&huart2,(uint8_t*)speed,sizeof(speed),100);
//	  	speed[1] = MC_GetMecSpeedAverageMotor1()*3;
//	  	HAL_UART_Transmit(&huart2,(uint8_t*)speed,sizeof(speed),100);
    /* USER CODE END WHILE */

  }
}

void SystemClock_Config(void)
{
  RCC_OscInitTypeDef RCC_OscInitStruct = {0};
  RCC_ClkInitTypeDef RCC_ClkInitStruct = {0};

  /** Configure the main internal regulator output voltage
  */
  HAL_PWREx_ControlVoltageScaling(PWR_REGULATOR_VOLTAGE_SCALE1_BOOST);

  /** Initializes the RCC Oscillators according to the specified parameters
  * in the RCC_OscInitTypeDef structure.
  */
  RCC_OscInitStruct.OscillatorType = RCC_OSCILLATORTYPE_HSE;
  RCC_OscInitStruct.HSEState = RCC_HSE_ON;
  RCC_OscInitStruct.PLL.PLLState = RCC_PLL_ON;
  RCC_OscInitStruct.PLL.PLLSource = RCC_PLLSOURCE_HSE;
  RCC_OscInitStruct.PLL.PLLM = RCC_PLLM_DIV6;
  RCC_OscInitStruct.PLL.PLLN = 85;
  RCC_OscInitStruct.PLL.PLLP = RCC_PLLP_DIV8;
  RCC_OscInitStruct.PLL.PLLQ = RCC_PLLQ_DIV2;
  RCC_OscInitStruct.PLL.PLLR = RCC_PLLR_DIV2;
  if (HAL_RCC_OscConfig(&RCC_OscInitStruct) != HAL_OK)
  {
    Error_Handler();
  }

  /** Initializes the CPU, AHB and APB buses clocks
  */
  RCC_ClkInitStruct.ClockType = RCC_CLOCKTYPE_HCLK|RCC_CLOCKTYPE_SYSCLK
                              |RCC_CLOCKTYPE_PCLK1|RCC_CLOCKTYPE_PCLK2;
  RCC_ClkInitStruct.SYSCLKSource = RCC_SYSCLKSOURCE_PLLCLK;
  RCC_ClkInitStruct.AHBCLKDivider = RCC_SYSCLK_DIV1;
  RCC_ClkInitStruct.APB1CLKDivider = RCC_HCLK_DIV1;
  RCC_ClkInitStruct.APB2CLKDivider = RCC_HCLK_DIV1;

  if (HAL_RCC_ClockConfig(&RCC_ClkInitStruct, FLASH_LATENCY_4) != HAL_OK)
  {
    Error_Handler();
  }

  /** Enables the Clock Security System
  */
  HAL_RCC_EnableCSS();
}

/**
  * @brief NVIC Configuration.
  * @retval None
  */
static void MX_NVIC_Init(void)
{
  /* USART2_IRQn interrupt configuration */
  HAL_NVIC_SetPriority(USART2_IRQn, 3, 1);
  HAL_NVIC_EnableIRQ(USART2_IRQn);
  /* DMA1_Channel1_IRQn interrupt configuration */
  HAL_NVIC_SetPriority(DMA1_Channel1_IRQn, 3, 0);
  HAL_NVIC_EnableIRQ(DMA1_Channel1_IRQn);
  /* TIM1_BRK_TIM15_IRQn interrupt configuration */
  HAL_NVIC_SetPriority(TIM1_BRK_TIM15_IRQn, 4, 1);
  HAL_NVIC_EnableIRQ(TIM1_BRK_TIM15_IRQn);
  /* TIM1_UP_TIM16_IRQn interrupt configuration */
  HAL_NVIC_SetPriority(TIM1_UP_TIM16_IRQn, 0, 0);
  HAL_NVIC_EnableIRQ(TIM1_UP_TIM16_IRQn);
  /* ADC1_2_IRQn interrupt configuration */
  HAL_NVIC_SetPriority(ADC1_2_IRQn, 2, 0);
  HAL_NVIC_EnableIRQ(ADC1_2_IRQn);
  /* EXTI15_10_IRQn interrupt configuration */
  HAL_NVIC_SetPriority(EXTI15_10_IRQn, 3, 0);
  HAL_NVIC_EnableIRQ(EXTI15_10_IRQn);
}

static void MX_ADC1_Init(void)
{

  ADC_MultiModeTypeDef multimode = {0};
  ADC_InjectionConfTypeDef sConfigInjected = {0};
  ADC_ChannelConfTypeDef sConfig = {0};

  /** Common config
  */
  hadc1.Instance = ADC1;
  hadc1.Init.ClockPrescaler = ADC_CLOCK_ASYNC_DIV1;
  hadc1.Init.Resolution = ADC_RESOLUTION_12B;
  hadc1.Init.DataAlign = ADC_DATAALIGN_LEFT;
  hadc1.Init.GainCompensation = 0;
  hadc1.Init.ScanConvMode = ADC_SCAN_ENABLE;
  hadc1.Init.EOCSelection = ADC_EOC_SINGLE_CONV;
  hadc1.Init.LowPowerAutoWait = DISABLE;
  hadc1.Init.ContinuousConvMode = DISABLE;
  hadc1.Init.NbrOfConversion = 1;
  hadc1.Init.DiscontinuousConvMode = DISABLE;
  hadc1.Init.ExternalTrigConv = ADC_SOFTWARE_START;
  hadc1.Init.ExternalTrigConvEdge = ADC_EXTERNALTRIGCONVEDGE_NONE;
  hadc1.Init.DMAContinuousRequests = DISABLE;
  hadc1.Init.Overrun = ADC_OVR_DATA_PRESERVED;
  hadc1.Init.OversamplingMode = DISABLE;
  if (HAL_ADC_Init(&hadc1) != HAL_OK)
  {
    Error_Handler();
  }

  /** Configure the ADC multi-mode
  */
  multimode.Mode = ADC_MODE_INDEPENDENT;
  if (HAL_ADCEx_MultiModeConfigChannel(&hadc1, &multimode) != HAL_OK)
  {
    Error_Handler();
  }

  /** Configure Injected Channel
  */
  sConfigInjected.InjectedChannel = ADC_CHANNEL_2;
  sConfigInjected.InjectedRank = ADC_INJECTED_RANK_1;
  sConfigInjected.InjectedSamplingTime = ADC_SAMPLETIME_6CYCLES_5;
  sConfigInjected.InjectedSingleDiff = ADC_SINGLE_ENDED;
  sConfigInjected.InjectedOffsetNumber = ADC_OFFSET_NONE;
  sConfigInjected.InjectedOffset = 0;
  sConfigInjected.InjectedNbrOfConversion = 3;
  sConfigInjected.InjectedDiscontinuousConvMode = DISABLE;
  sConfigInjected.AutoInjectedConv = DISABLE;
  sConfigInjected.QueueInjectedContext = DISABLE;
  sConfigInjected.ExternalTrigInjecConv = ADC_EXTERNALTRIGINJEC_T1_TRGO;
  sConfigInjected.ExternalTrigInjecConvEdge = ADC_EXTERNALTRIGINJECCONV_EDGE_RISING;
  sConfigInjected.InjecOversamplingMode = DISABLE;
  if (HAL_ADCEx_InjectedConfigChannel(&hadc1, &sConfigInjected) != HAL_OK)
  {
    Error_Handler();
  }

  /** Configure Injected Channel
  */
  sConfigInjected.InjectedChannel = ADC_CHANNEL_12;
  sConfigInjected.InjectedRank = ADC_INJECTED_RANK_2;
  if (HAL_ADCEx_InjectedConfigChannel(&hadc1, &sConfigInjected) != HAL_OK)
  {
    Error_Handler();
  }

  /** Configure Injected Channel
  */
  sConfigInjected.InjectedChannel = ADC_CHANNEL_15;
  sConfigInjected.InjectedRank = ADC_INJECTED_RANK_3;
  if (HAL_ADCEx_InjectedConfigChannel(&hadc1, &sConfigInjected) != HAL_OK)
  {
    Error_Handler();
  }

  /** Configure Regular Channel
  */
  sConfig.Channel = ADC_CHANNEL_1;
  sConfig.Rank = ADC_REGULAR_RANK_1;
  sConfig.SamplingTime = ADC_SAMPLETIME_47CYCLES_5;
  sConfig.SingleDiff = ADC_SINGLE_ENDED;
  sConfig.OffsetNumber = ADC_OFFSET_NONE;
  sConfig.Offset = 0;
  if (HAL_ADC_ConfigChannel(&hadc1, &sConfig) != HAL_OK)
  {
    Error_Handler();
  }

}

static void MX_ADC2_Init(void)
{

  ADC_ChannelConfTypeDef sConfig = {0};

  /** Common config
  */
  hadc2.Instance = ADC2;
  hadc2.Init.ClockPrescaler = ADC_CLOCK_ASYNC_DIV1;
  hadc2.Init.Resolution = ADC_RESOLUTION_12B;
  hadc2.Init.DataAlign = ADC_DATAALIGN_LEFT;
  hadc2.Init.GainCompensation = 0;
  hadc2.Init.ScanConvMode = ADC_SCAN_DISABLE;
  hadc2.Init.EOCSelection = ADC_EOC_SINGLE_CONV;
  hadc2.Init.LowPowerAutoWait = DISABLE;
  hadc2.Init.ContinuousConvMode = DISABLE;
  hadc2.Init.NbrOfConversion = 1;
  hadc2.Init.DiscontinuousConvMode = DISABLE;
  hadc2.Init.ExternalTrigConv = ADC_SOFTWARE_START;
  hadc2.Init.ExternalTrigConvEdge = ADC_EXTERNALTRIGCONVEDGE_NONE;
  hadc2.Init.DMAContinuousRequests = DISABLE;
  hadc2.Init.Overrun = ADC_OVR_DATA_PRESERVED;
  hadc2.Init.OversamplingMode = DISABLE;
  if (HAL_ADC_Init(&hadc2) != HAL_OK)
  {
    Error_Handler();
  }

  /** Configure Regular Channel
  */
  sConfig.Channel = ADC_CHANNEL_5;
  sConfig.Rank = ADC_REGULAR_RANK_1;
  sConfig.SamplingTime = ADC_SAMPLETIME_47CYCLES_5;
  sConfig.SingleDiff = ADC_SINGLE_ENDED;
  sConfig.OffsetNumber = ADC_OFFSET_NONE;
  sConfig.Offset = 0;
  if (HAL_ADC_ConfigChannel(&hadc2, &sConfig) != HAL_OK)
  {
    Error_Handler();
  }

}

static void MX_CORDIC_Init(void)
{

  hcordic.Instance = CORDIC;
  if (HAL_CORDIC_Init(&hcordic) != HAL_OK)
  {
    Error_Handler();
  }

}

static void MX_TIM1_Init(void)
{

  TIM_SlaveConfigTypeDef sSlaveConfig = {0};
  TIM_MasterConfigTypeDef sMasterConfig = {0};
  TIMEx_BreakInputConfigTypeDef sBreakInputConfig = {0};
  TIM_OC_InitTypeDef sConfigOC = {0};
  TIM_BreakDeadTimeConfigTypeDef sBreakDeadTimeConfig = {0};

  htim1.Instance = TIM1;
  htim1.Init.Prescaler = ((TIM_CLOCK_DIVIDER) - 1);
  htim1.Init.CounterMode = TIM_COUNTERMODE_CENTERALIGNED1;
  htim1.Init.Period = ((PWM_PERIOD_CYCLES) / 2);
  htim1.Init.ClockDivision = TIM_CLOCKDIVISION_DIV2;
  htim1.Init.RepetitionCounter = (REP_COUNTER);
  htim1.Init.AutoReloadPreload = TIM_AUTORELOAD_PRELOAD_DISABLE;
  if (HAL_TIM_Base_Init(&htim1) != HAL_OK)
  {
    Error_Handler();
  }
  if (HAL_TIM_PWM_Init(&htim1) != HAL_OK)
  {
    Error_Handler();
  }
  sSlaveConfig.SlaveMode = TIM_SLAVEMODE_TRIGGER;
  sSlaveConfig.InputTrigger = TIM_TS_ITR1;
  if (HAL_TIM_SlaveConfigSynchro(&htim1, &sSlaveConfig) != HAL_OK)
  {
    Error_Handler();
  }
  sMasterConfig.MasterOutputTrigger = TIM_TRGO_OC4REF;
  sMasterConfig.MasterOutputTrigger2 = TIM_TRGO2_RESET;
  sMasterConfig.MasterSlaveMode = TIM_MASTERSLAVEMODE_DISABLE;
  if (HAL_TIMEx_MasterConfigSynchronization(&htim1, &sMasterConfig) != HAL_OK)
  {
    Error_Handler();
  }
  sBreakInputConfig.Source = TIM_BREAKINPUTSOURCE_BKIN;
  sBreakInputConfig.Enable = TIM_BREAKINPUTSOURCE_ENABLE;
  sBreakInputConfig.Polarity = TIM_BREAKINPUTSOURCE_POLARITY_LOW;
  if (HAL_TIMEx_ConfigBreakInput(&htim1, TIM_BREAKINPUT_BRK2, &sBreakInputConfig) != HAL_OK)
  {
    Error_Handler();
  }
  sConfigOC.OCMode = TIM_OCMODE_PWM1;
  sConfigOC.Pulse = ((PWM_PERIOD_CYCLES) / 4);
  sConfigOC.OCPolarity = TIM_OCPOLARITY_HIGH;
  sConfigOC.OCNPolarity = TIM_OCNPOLARITY_HIGH;
  sConfigOC.OCFastMode = TIM_OCFAST_DISABLE;
  sConfigOC.OCIdleState = TIM_OCIDLESTATE_RESET;
  sConfigOC.OCNIdleState = TIM_OCNIDLESTATE_RESET;
  if (HAL_TIM_PWM_ConfigChannel(&htim1, &sConfigOC, TIM_CHANNEL_1) != HAL_OK)
  {
    Error_Handler();
  }
  if (HAL_TIM_PWM_ConfigChannel(&htim1, &sConfigOC, TIM_CHANNEL_2) != HAL_OK)
  {
    Error_Handler();
  }
  if (HAL_TIM_PWM_ConfigChannel(&htim1, &sConfigOC, TIM_CHANNEL_3) != HAL_OK)
  {
    Error_Handler();
  }
  sConfigOC.OCMode = TIM_OCMODE_PWM2;
  sConfigOC.Pulse = (((PWM_PERIOD_CYCLES) / 2) - (HTMIN));
  if (HAL_TIM_PWM_ConfigChannel(&htim1, &sConfigOC, TIM_CHANNEL_4) != HAL_OK)
  {
    Error_Handler();
  }
  sBreakDeadTimeConfig.OffStateRunMode = TIM_OSSR_ENABLE;
  sBreakDeadTimeConfig.OffStateIDLEMode = TIM_OSSI_ENABLE;
  sBreakDeadTimeConfig.LockLevel = TIM_LOCKLEVEL_OFF;
  sBreakDeadTimeConfig.DeadTime = 0;
  sBreakDeadTimeConfig.BreakState = TIM_BREAK_DISABLE;
  sBreakDeadTimeConfig.BreakPolarity = TIM_BREAKPOLARITY_HIGH;
  sBreakDeadTimeConfig.BreakFilter = 0;
  sBreakDeadTimeConfig.BreakAFMode = TIM_BREAK_AFMODE_INPUT;
  sBreakDeadTimeConfig.Break2State = TIM_BREAK2_ENABLE;
  sBreakDeadTimeConfig.Break2Polarity = TIM_BREAK2POLARITY_HIGH;
  sBreakDeadTimeConfig.Break2Filter = 3;
  sBreakDeadTimeConfig.Break2AFMode = TIM_BREAK_AFMODE_INPUT;
  sBreakDeadTimeConfig.AutomaticOutput = TIM_AUTOMATICOUTPUT_DISABLE;
  if (HAL_TIMEx_ConfigBreakDeadTime(&htim1, &sBreakDeadTimeConfig) != HAL_OK)
  {
    Error_Handler();
  }
  HAL_TIM_MspPostInit(&htim1);

}

static void MX_USART2_UART_Init(void)
{

  huart2.Instance = USART2;
  huart2.Init.BaudRate = 1843200;
  huart2.Init.WordLength = UART_WORDLENGTH_8B;
  huart2.Init.StopBits = UART_STOPBITS_1;
  huart2.Init.Parity = UART_PARITY_NONE;
  huart2.Init.Mode = UART_MODE_TX_RX;
  huart2.Init.HwFlowCtl = UART_HWCONTROL_NONE;
  huart2.Init.OverSampling = UART_OVERSAMPLING_16;
  huart2.Init.OneBitSampling = UART_ONE_BIT_SAMPLE_DISABLE;
  huart2.Init.ClockPrescaler = UART_PRESCALER_DIV1;
  huart2.AdvancedInit.AdvFeatureInit = UART_ADVFEATURE_NO_INIT;
  if (HAL_UART_Init(&huart2) != HAL_OK)
  {
    Error_Handler();
  }
  if (HAL_UARTEx_SetTxFifoThreshold(&huart2, UART_TXFIFO_THRESHOLD_1_8) != HAL_OK)
  {
    Error_Handler();
  }
  if (HAL_UARTEx_SetRxFifoThreshold(&huart2, UART_RXFIFO_THRESHOLD_1_8) != HAL_OK)
  {
    Error_Handler();
  }
  if (HAL_UARTEx_DisableFifoMode(&huart2) != HAL_OK)
  {
    Error_Handler();
  }

}

static void MX_DMA_Init(void)
{

  /* DMA controller clock enable */
  __HAL_RCC_DMAMUX1_CLK_ENABLE();
  __HAL_RCC_DMA1_CLK_ENABLE();

}

static void MX_GPIO_Init(void)
{
  GPIO_InitTypeDef GPIO_InitStruct = {0};

  /* GPIO Ports Clock Enable */
  __HAL_RCC_GPIOC_CLK_ENABLE();
  __HAL_RCC_GPIOF_CLK_ENABLE();
  __HAL_RCC_GPIOA_CLK_ENABLE();
  __HAL_RCC_GPIOB_CLK_ENABLE();

  /*Configure GPIO pin Output Level */
  HAL_GPIO_WritePin(GPIOB, M1_PWM_EN_U_Pin|M1_PWM_EN_V_Pin|M1_PWM_EN_W_Pin, GPIO_PIN_RESET);

  /*Configure GPIO pin : Start_Stop_Pin */
  GPIO_InitStruct.Pin = Start_Stop_Pin;
  GPIO_InitStruct.Mode = GPIO_MODE_IT_FALLING;
  GPIO_InitStruct.Pull = GPIO_NOPULL;
  HAL_GPIO_Init(Start_Stop_GPIO_Port, &GPIO_InitStruct);

  /*Configure GPIO pins : M1_PWM_EN_U_Pin M1_PWM_EN_V_Pin M1_PWM_EN_W_Pin */
  GPIO_InitStruct.Pin = M1_PWM_EN_U_Pin|M1_PWM_EN_V_Pin|M1_PWM_EN_W_Pin;
  GPIO_InitStruct.Mode = GPIO_MODE_OUTPUT_PP;
  GPIO_InitStruct.Pull = GPIO_PULLDOWN;
  GPIO_InitStruct.Speed = GPIO_SPEED_FREQ_HIGH;
  HAL_GPIO_Init(GPIOB, &GPIO_InitStruct);

}

void Error_Handler(void)
{
  __disable_irq();
  while (1)
  {
  }
}
